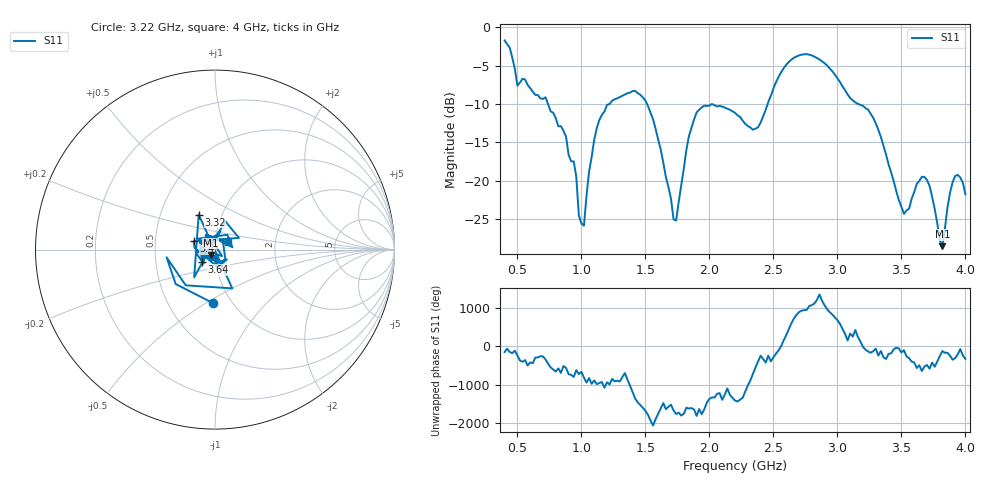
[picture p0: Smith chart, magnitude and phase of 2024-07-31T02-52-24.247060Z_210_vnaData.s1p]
!Created with skrf (http://scikit-rf.org).
# Hz S RI R 50.0
!freq ReS11 ImS11
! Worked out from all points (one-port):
!   181 points, 400 MHz to 4 GHz, reference 50 ohm
!   lowest |S11| = -28.5 dB at 3.82 GHz (marker M1), VSWR 1.08, Z = 47.7 - j2.85 ohm
!   |S11| at or under -10 dB: 738.8 MHz to 1.22 GHz (481.1 MHz wide, 49.1 % of centre); 1.513 GHz to 2.019 GHz (506.8 MHz wide, 28.7 % of centre); 3.163 GHz to end of sweep (the widest 3 of 4)
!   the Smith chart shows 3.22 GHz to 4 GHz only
!   S11 on the Smith chart (normalised r, x): 3.22 GHz: 0.82, -0.53; 3.32 GHz: 0.78, +0.32; 3.4 GHz: 0.78, +0.07; 3.64 GHz: 0.86, -0.12; 4 GHz: 1.15, +0.09
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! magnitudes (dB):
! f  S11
! 400 MHz  -1.7
! 500 MHz  -7.6
! 720 MHz  -9.1
! 860 MHz  -13.5
! 940 MHz  -17.5
! 980 MHz  -24.5
! 1.02 GHz  -25.8
! 1.12 GHz  -13.1
! 1.3 GHz  -9.1
! 1.5 GHz  -9.6
! 1.72 GHz  -25.0
! 1.76 GHz  -22.8
! 1.9 GHz  -11.1
! 2.2 GHz  -11.1
! 2.38 GHz  -13.0
! 2.66 GHz  -4.0
! 2.86 GHz  -4.2
! 3.1 GHz  -9.2
! 3.22 GHz  -10.5
! 3.32 GHz  -13.4
! 3.4 GHz  -17.9
! 3.52 GHz  -24.3
! 3.56 GHz  -23.6
! 3.64 GHz  -20.0
! 3.72 GHz  -20.6
! 3.82 GHz  -28.5
! 3.92 GHz  -19.4
! 4 GHz  -21.7
